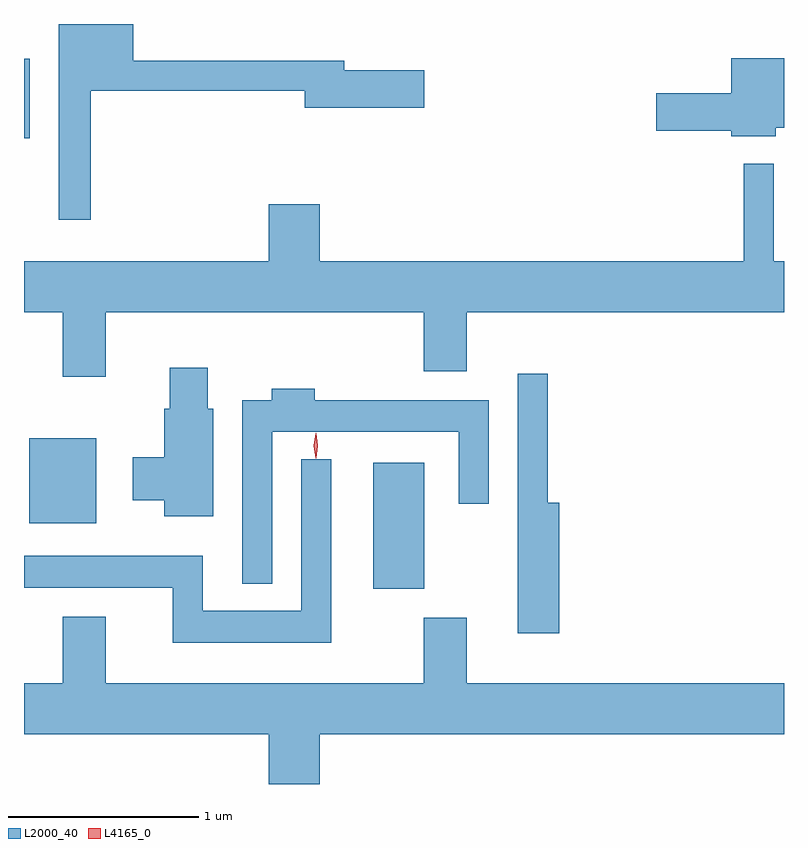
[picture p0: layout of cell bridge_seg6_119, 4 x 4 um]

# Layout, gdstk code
import gdstk
lib = gdstk.Library(unit=1e-6, precision=1e-09)
def R(c, l, rs):  # rectangles x0, y0, x1, y1
    for r in rs: c.add(gdstk.rectangle(r[:2], r[2:], *l))
def P(c, l, *ps):  # polygons
    for p in ps: c.add(gdstk.Polygon(p, *l))
L2000_40 = (2000, 40)
L4165_0 = (4165, 0)

bridge_seg6_119 = lib.new_cell('bridge_seg6_119')
R(bridge_seg6_119, L2000_40, [(1054.786,1608.521,1055.054,1609.184), (1052.976,1608.866,1053.329,1609.314), (1052.948,1610.891,1052.979,1611.309)])
P(bridge_seg6_119, L2000_40, [(1053.299,1611.141),(1054.426,1611.141),(1054.426,1611.051),(1055.054,1611.051),(1055.054,1611.249),(1054.634,1611.249),(1054.634,1611.299),(1053.524,1611.299),(1053.524,1611.493),(1053.131,1611.493),(1053.131,1610.463),(1053.299,1610.463)],
  [(1056.904,1610.946),(1056.948,1610.946),(1056.948,1611.314),(1056.671,1611.314),(1056.671,1611.129),(1056.276,1611.129),(1056.276,1610.931),(1056.671,1610.931),(1056.671,1610.901),(1056.904,1610.901)],
  [(1053.379,1609.976),(1055.051,1609.976),(1055.051,1609.666),(1055.279,1609.666),(1055.279,1609.976),(1056.948,1609.976),(1056.948,1610.244),(1056.894,1610.244),(1056.894,1610.758),(1056.736,1610.758),(1056.736,1610.244),(1054.504,1610.244),(1054.504,1610.544),(1054.236,1610.544),(1054.236,1610.244),(1052.948,1610.244),(1052.948,1609.976),(1053.151,1609.976),(1053.151,1609.636),(1053.379,1609.636)],
  [(1053.944,1609.469),(1053.914,1609.469),(1053.914,1609.684),(1053.716,1609.684),(1053.716,1609.469),(1053.686,1609.469),(1053.686,1609.214),(1053.521,1609.214),(1053.521,1608.986),(1053.686,1608.986),(1053.686,1608.901),(1053.944,1608.901)],
  [(1055.764,1608.974),(1055.704,1608.974),(1055.704,1609.653),(1055.546,1609.653),(1055.546,1608.286),(1055.764,1608.286)],
  [(1054.254,1609.346),(1055.236,1609.346),(1055.236,1608.968),(1055.394,1608.968),(1055.394,1609.514),(1054.479,1609.514),(1054.479,1609.574),(1054.251,1609.574),(1054.251,1609.514),(1054.096,1609.514),(1054.096,1608.548),(1054.254,1608.548)],
  [(1054.564,1609.203),(1054.406,1609.203),(1054.406,1608.404),(1053.889,1608.404),(1053.889,1608.694),(1052.948,1608.694),(1052.948,1608.526),(1053.731,1608.526),(1053.731,1608.236),(1054.564,1608.236)],
  [(1054.504,1607.756),(1056.948,1607.756),(1056.948,1608.024),(1055.279,1608.024),(1055.279,1608.369),(1055.051,1608.369),(1055.051,1608.024),(1053.379,1608.024),(1053.379,1608.374),(1053.151,1608.374),(1053.151,1608.024),(1052.948,1608.024),(1052.948,1607.756),(1054.236,1607.756),(1054.236,1607.493),(1054.504,1607.493)])
P(bridge_seg6_119, L4165_0, [(1054.484,1609.207),(1054.474,1609.274),(1054.484,1609.34),(1054.484,1609.34),(1054.485,1609.34),(1054.494,1609.274),(1054.485,1609.207),(1054.485,1609.207)])

lib.write_gds('bridge_seg6_119.gds')
